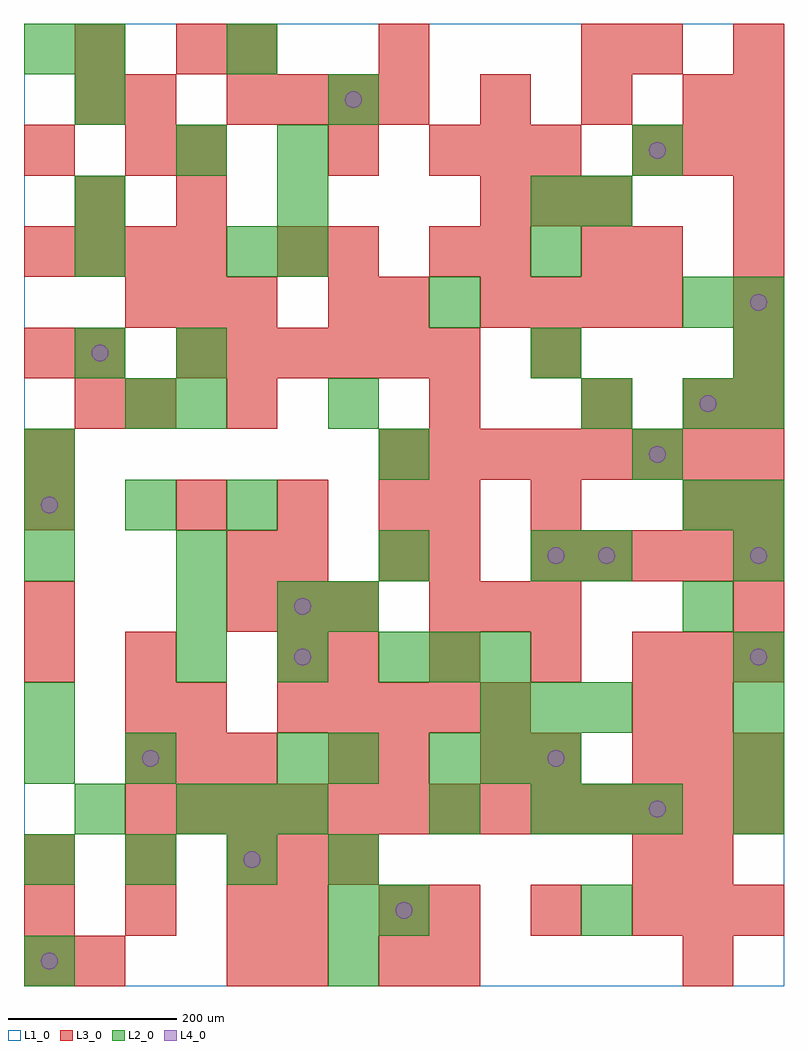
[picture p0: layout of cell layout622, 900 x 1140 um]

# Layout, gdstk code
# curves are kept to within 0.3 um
import gdstk
lib = gdstk.Library(unit=1e-6, precision=1e-09)
def R(c, l, rs):  # rectangles x0, y0, x1, y1
    for r in rs: c.add(gdstk.rectangle(r[:2], r[2:], *l))
def A(c, l, x, y, w, h, nx, ny, dx, dy):  # array of equal rectangles
    R(c, l, [(x+i*dx, y+j*dy, x+i*dx+w, y+j*dy+h) for i in range(nx) for j in range(ny)])
def P(c, l, *ps):  # polygons
    for p in ps: c.add(gdstk.Polygon(p, *l))
L1_0 = (1, 0)
L2_0 = (2, 0)
L3_0 = (3, 0)
L4_0 = (4, 0)

layout622 = lib.new_cell('layout622')
R(layout622, L1_0, [(0,0,900,1140)])
A(layout622, L2_0, 360, 60, 60, 60, 1, 3, 0, 180)
A(layout622, L2_0, 0, 120, 60, 60, 4, 1, 120, 0)
A(layout622, L2_0, 180, 180, 60, 60, 3, 1, 60, 0)
A(layout622, L2_0, 600, 180, 60, 60, 3, 1, 60, 0)
A(layout622, L2_0, 840, 180, 60, 60, 1, 4, 0, 60)
A(layout622, L2_0, 480, 240, 60, 60, 3, 1, 60, 0)
A(layout622, L2_0, 540, 300, 60, 60, 3, 1, 60, 0)
A(layout622, L2_0, 180, 360, 60, 60, 3, 1, 120, 0)
A(layout622, L2_0, 780, 420, 60, 60, 1, 4, 0, 120)
A(layout622, L2_0, 0, 540, 60, 60, 3, 1, 120, 0)
A(layout622, L2_0, 840, 660, 60, 60, 1, 3, 0, 60)
A(layout622, L2_0, 300, 840, 60, 60, 1, 3, 0, 60)
R(layout622, L2_0, [(0,0,60,60), (360,0,420,60), (420,60,480,120), (660,60,720,120), (60,180,120,240), (480,180,540,240), (0,240,60,300), (120,240,180,300), (300,240,360,300), (0,300,60,360), (480,360,540,420), (540,360,600,420), (180,420,240,480), (300,420,360,480), (0,480,60,540), (180,480,240,540), (420,480,480,540), (600,480,660,540), (660,480,720,540), (840,480,900,540), (840,540,900,600), (0,600,60,660), (420,600,480,660), (720,600,780,660), (120,660,180,720), (180,660,240,720), (360,660,420,720), (660,660,720,720), (60,720,120,780), (180,720,240,780), (600,720,660,780), (480,780,540,840), (60,840,120,900), (240,840,300,900), (600,840,660,900), (60,900,120,960), (600,900,660,960), (660,900,720,960), (180,960,240,1020), (720,960,780,1020), (60,1020,120,1080), (360,1020,420,1080), (0,1080,60,1140), (60,1080,120,1140), (240,1080,300,1140)])
A(layout622, L3_0, 300, 0, 60, 60, 1, 3, 0, 60)
A(layout622, L3_0, 780, 0, 60, 60, 1, 3, 0, 60)
A(layout622, L3_0, 0, 60, 60, 60, 3, 2, 120, 60)
A(layout622, L3_0, 480, 60, 60, 60, 3, 1, 120, 0)
A(layout622, L3_0, 120, 180, 60, 60, 13, 1, 60, 0)
A(layout622, L3_0, 120, 240, 60, 60, 3, 2, 60, 540)
A(layout622, L3_0, 720, 240, 60, 60, 3, 2, 60, 720)
A(layout622, L3_0, 300, 300, 60, 60, 5, 1, 60, 0)
A(layout622, L3_0, 120, 360, 60, 60, 1, 3, 0, 300)
A(layout622, L3_0, 360, 360, 60, 60, 4, 1, 120, 0)
A(layout622, L3_0, 240, 420, 60, 60, 3, 1, 60, 0)
A(layout622, L3_0, 480, 420, 60, 60, 3, 2, 60, 540)
A(layout622, L3_0, 840, 420, 60, 60, 1, 3, 0, 120)
A(layout622, L3_0, 420, 480, 60, 60, 1, 3, 0, 300)
A(layout622, L3_0, 600, 480, 60, 60, 5, 1, 60, 0)
A(layout622, L3_0, 180, 540, 60, 60, 3, 1, 120, 0)
A(layout622, L3_0, 420, 600, 60, 60, 8, 1, 60, 0)
A(layout622, L3_0, 180, 720, 60, 60, 6, 1, 60, 0)
A(layout622, L3_0, 840, 720, 60, 60, 1, 4, 0, 60)
A(layout622, L3_0, 540, 780, 60, 60, 4, 1, 60, 0)
A(layout622, L3_0, 0, 840, 60, 60, 4, 1, 60, 0)
A(layout622, L3_0, 540, 900, 60, 60, 3, 1, 60, 0)
A(layout622, L3_0, 240, 1020, 60, 60, 4, 1, 60, 0)
A(layout622, L3_0, 540, 1020, 60, 60, 3, 1, 120, 0)
R(layout622, L3_0, [(0,0,60,60), (60,0,120,60), (240,0,300,60), (420,0,480,60), (480,0,540,60), (420,60,480,120), (840,60,900,120), (360,120,420,180), (720,120,780,180), (360,240,420,300), (420,240,480,300), (540,240,600,300), (600,240,660,300), (120,300,180,360), (180,300,240,360), (720,300,780,360), (780,300,840,360), (0,360,60,420), (300,360,360,420), (780,360,840,420), (840,360,900,420), (0,420,60,480), (240,480,300,540), (300,480,360,540), (480,480,540,540), (0,540,60,600), (480,540,540,600), (600,540,660,600), (780,540,840,600), (0,600,60,660), (60,660,120,720), (240,660,300,720), (480,660,540,720), (660,660,720,720), (780,660,840,720), (0,720,60,780), (60,720,120,780), (600,720,660,780), (360,780,420,840), (300,840,360,900), (360,840,420,900), (480,840,540,900), (540,840,600,900), (660,840,720,900), (720,840,780,900), (60,900,120,960), (180,900,240,960), (0,960,60,1020), (180,960,240,1020), (360,960,420,1020), (60,1020,120,1080), (120,1020,180,1080), (840,1020,900,1080), (60,1080,120,1140), (180,1080,240,1140), (240,1080,300,1140), (660,1080,720,1140), (720,1080,780,1140), (840,1080,900,1140)])
P(layout622, L4_0, [(40,30),(39.239,33.827),(37.071,37.071),(33.827,39.239),(30,40),(26.173,39.239),(22.929,37.071),(20.761,33.827),(20,30),(20.761,26.173),(22.929,22.929),(26.173,20.761),(30,20),(33.827,20.761),(37.071,22.929),(39.239,26.173)],
  [(40,570),(39.239,573.827),(37.071,577.071),(33.827,579.239),(30,580),(26.173,579.239),(22.929,577.071),(20.761,573.827),(20,570),(20.761,566.173),(22.929,562.929),(26.173,560.761),(30,560),(33.827,560.761),(37.071,562.929),(39.239,566.173)],
  [(100,750),(99.239,753.827),(97.071,757.071),(93.827,759.239),(90,760),(86.173,759.239),(82.929,757.071),(80.761,753.827),(80,750),(80.761,746.173),(82.929,742.929),(86.173,740.761),(90,740),(93.827,740.761),(97.071,742.929),(99.239,746.173)],
  [(160,270),(159.239,273.827),(157.071,277.071),(153.827,279.239),(150,280),(146.173,279.239),(142.929,277.071),(140.761,273.827),(140,270),(140.761,266.173),(142.929,262.929),(146.173,260.761),(150,260),(153.827,260.761),(157.071,262.929),(159.239,266.173)],
  [(280,150),(279.239,153.827),(277.071,157.071),(273.827,159.239),(270,160),(266.173,159.239),(262.929,157.071),(260.761,153.827),(260,150),(260.761,146.173),(262.929,142.929),(266.173,140.761),(270,140),(273.827,140.761),(277.071,142.929),(279.239,146.173)],
  [(340,390),(339.239,393.827),(337.071,397.071),(333.827,399.239),(330,400),(326.173,399.239),(322.929,397.071),(320.761,393.827),(320,390),(320.761,386.173),(322.929,382.929),(326.173,380.761),(330,380),(333.827,380.761),(337.071,382.929),(339.239,386.173)],
  [(340,450),(339.239,453.827),(337.071,457.071),(333.827,459.239),(330,460),(326.173,459.239),(322.929,457.071),(320.761,453.827),(320,450),(320.761,446.173),(322.929,442.929),(326.173,440.761),(330,440),(333.827,440.761),(337.071,442.929),(339.239,446.173)],
  [(400,1050),(399.239,1053.827),(397.071,1057.071),(393.827,1059.239),(390,1060),(386.173,1059.239),(382.929,1057.071),(380.761,1053.827),(380,1050),(380.761,1046.173),(382.929,1042.929),(386.173,1040.761),(390,1040),(393.827,1040.761),(397.071,1042.929),(399.239,1046.173)],
  [(460,90),(459.239,93.827),(457.071,97.071),(453.827,99.239),(450,100),(446.173,99.239),(442.929,97.071),(440.761,93.827),(440,90),(440.761,86.173),(442.929,82.929),(446.173,80.761),(450,80),(453.827,80.761),(457.071,82.929),(459.239,86.173)],
  [(640,270),(639.239,273.827),(637.071,277.071),(633.827,279.239),(630,280),(626.173,279.239),(622.929,277.071),(620.761,273.827),(620,270),(620.761,266.173),(622.929,262.929),(626.173,260.761),(630,260),(633.827,260.761),(637.071,262.929),(639.239,266.173)],
  [(640,510),(639.239,513.827),(637.071,517.071),(633.827,519.239),(630,520),(626.173,519.239),(622.929,517.071),(620.761,513.827),(620,510),(620.761,506.173),(622.929,502.929),(626.173,500.761),(630,500),(633.827,500.761),(637.071,502.929),(639.239,506.173)],
  [(700,510),(699.239,513.827),(697.071,517.071),(693.827,519.239),(690,520),(686.173,519.239),(682.929,517.071),(680.761,513.827),(680,510),(680.761,506.173),(682.929,502.929),(686.173,500.761),(690,500),(693.827,500.761),(697.071,502.929),(699.239,506.173)],
  [(760,210),(759.239,213.827),(757.071,217.071),(753.827,219.239),(750,220),(746.173,219.239),(742.929,217.071),(740.761,213.827),(740,210),(740.761,206.173),(742.929,202.929),(746.173,200.761),(750,200),(753.827,200.761),(757.071,202.929),(759.239,206.173)],
  [(760,630),(759.239,633.827),(757.071,637.071),(753.827,639.239),(750,640),(746.173,639.239),(742.929,637.071),(740.761,633.827),(740,630),(740.761,626.173),(742.929,622.929),(746.173,620.761),(750,620),(753.827,620.761),(757.071,622.929),(759.239,626.173)],
  [(760,990),(759.239,993.827),(757.071,997.071),(753.827,999.239),(750,1000),(746.173,999.239),(742.929,997.071),(740.761,993.827),(740,990),(740.761,986.173),(742.929,982.929),(746.173,980.761),(750,980),(753.827,980.761),(757.071,982.929),(759.239,986.173)],
  [(820,690),(819.239,693.827),(817.071,697.071),(813.827,699.239),(810,700),(806.173,699.239),(802.929,697.071),(800.761,693.827),(800,690),(800.761,686.173),(802.929,682.929),(806.173,680.761),(810,680),(813.827,680.761),(817.071,682.929),(819.239,686.173)],
  [(880,390),(879.239,393.827),(877.071,397.071),(873.827,399.239),(870,400),(866.173,399.239),(862.929,397.071),(860.761,393.827),(860,390),(860.761,386.173),(862.929,382.929),(866.173,380.761),(870,380),(873.827,380.761),(877.071,382.929),(879.239,386.173)],
  [(880,510),(879.239,513.827),(877.071,517.071),(873.827,519.239),(870,520),(866.173,519.239),(862.929,517.071),(860.761,513.827),(860,510),(860.761,506.173),(862.929,502.929),(866.173,500.761),(870,500),(873.827,500.761),(877.071,502.929),(879.239,506.173)],
  [(880,810),(879.239,813.827),(877.071,817.071),(873.827,819.239),(870,820),(866.173,819.239),(862.929,817.071),(860.761,813.827),(860,810),(860.761,806.173),(862.929,802.929),(866.173,800.761),(870,800),(873.827,800.761),(877.071,802.929),(879.239,806.173)])

lib.write_gds('layout622.gds')
